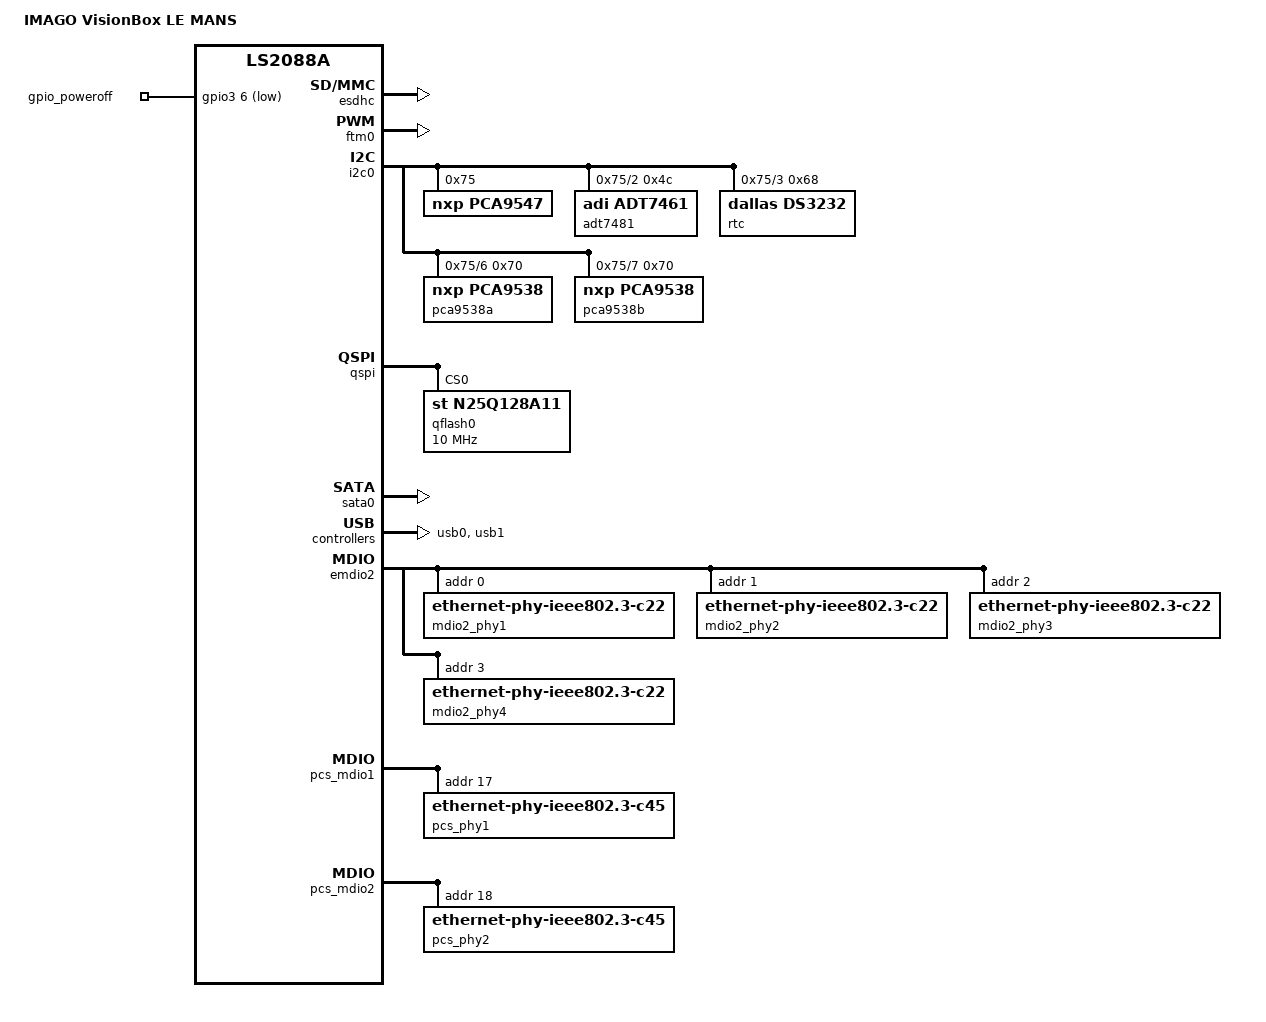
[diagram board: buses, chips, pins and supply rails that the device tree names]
/*
 * Device Tree file for IMAGO VisionBox LeMans
 *
 * Copyright (C) 2016, IMAGO Technologies GmbH
 *
 * Ralf Goebel <ralf.goebel@imago-technologies.com>
 *
 * This file is licensed under the terms of the GNU General Public
 * License version 2.  This program is licensed "as is" without any
 * warranty of any kind, whether express or implied.
 */

/dts-v1/;

#include "fsl-ls2088a.dtsi"
#include <dt-bindings/gpio/gpio.h>

/ {
	model = "IMAGO VisionBox LE MANS";
	compatible = "fsl,ls2088a-rdb", "fsl,ls2088a";

  	/*aliases {
		serial0 = &serial0;
	};*/
	chosen {
		stdout-path = "serial0:115200n8";
	};

	/* we use GPIO4_06 / IRQ08 for signaling power-off to the FPGA */
	gpio_poweroff {
		compatible = "gpio-poweroff";
		gpios = <&gpio3 6 GPIO_ACTIVE_LOW>;
	};

/*	cpus {
		L2_0: l2-cache0 {
			compatible = "cache";
		};
	
		L2_1: l2-cache1 {
			compatible = "cache";
		};
	
		L2_2: l2-cache2 {
			compatible = "cache";
		};
	
		L2_3: l2-cache3 {
			compatible = "cache";
		};
	};*/
};

/*&cpu0 {
	next-level-cache = <&L2_0>;
};

&cpu1 {
	next-level-cache = <&L2_0>;
};

&cpu2 {
	next-level-cache = <&L2_1>;
};

&cpu3 {
	next-level-cache = <&L2_1>;
};

&cpu4 {
	next-level-cache = <&L2_2>;
};

&cpu5 {
	next-level-cache = <&L2_2>;
};

&cpu6 {
	next-level-cache = <&L2_3>;
};

&cpu7 {
	next-level-cache = <&L2_3>;
};*/

&serial1 {
	status = "disabled";
};

/* Disable unused PCIe controller */
&pcie1 {
	status = "disabled";
};

&esdhc {
	status = "okay";
	sd-uhs-ddr50;
};

&ifc {
	status = "disabled";
};

&ftm0 {
	status = "okay";
};

&i2c0 {
	status = "okay";
	pca9547@75 {
		compatible = "nxp,pca9547";
		reg = <0x75>;
		#address-cells = <1>;
		#size-cells = <0>;
		i2c-mux-never-disable;

		i2c@2 {
			#address-cells = <1>;
			#size-cells = <0>;
			reg = <0x2>;

			adt7481@4c {
				compatible = "adi,adt7461";
				reg = <0x4c>;
			};
		};

		i2c@3 {
			#address-cells = <1>;
			#size-cells = <0>;
			reg = <0x03>;
			rtc@68 {
				compatible = "dallas,ds3232";
				reg = <0x68>;
			};
		};

		i2c@6 {
			#address-cells = <1>;
			#size-cells = <0>;
			reg = <0x6>;

			pca9538a@70 {
				compatible = "nxp,pca9538";
				reg = <0x70>;
				pinctrl-names = "default";
//				pinctrl-0 = <&pinctrl_pca9505>;
//				interrupts = <0 2 0x4>; /* Level high type */
			};
		};

		i2c@7 {
			#address-cells = <1>;
			#size-cells = <0>;
			reg = <0x7>;

			pca9538b@70 {
				compatible = "nxp,pca9538";
				reg = <0x70>;
				pinctrl-names = "default";
//				pinctrl-0 = <&pinctrl_pca9505>;
//				interrupts = <0 2 0x4>; /* Level high type */
			};
		};
	};
};

&i2c1 {
	status = "disabled";
};

&i2c2 {
	status = "disabled";
};

&i2c3 {
	status = "disabled";
};

&dspi {
	status = "disabled";
};

&qspi {
	status = "okay";
	qflash0: n25q128 {
		#address-cells = <1>;
		#size-cells = <1>;
		compatible = "st,n25q128a11";
		spi-max-frequency = <10000000>;
		m25p,fast-read;
		reg = <0>;
	};
};

&sata0 {
	status = "okay";
};

&sata1 {
	status = "disabled";
};

&usb0 {
	status = "okay";
};

&usb1 {
	status = "okay";
};

&emdio1 {
	status = "disabled";
};

&emdio2 {
	/* Marvell 88E1548 QSGMII Phy */
	mdio2_phy1: emdio2_phy@1 {
		compatible = "ethernet-phy-ieee802.3-c22";
		interrupts = <0 1 0x4>; /* Level high type */
		reg = <0x0>;
		phy-connection-type = "qsgmii";
		marvell,reg-init = <3 0x10 0 0x4877>,	/* LED Function Control Register */
			<3 0x12 0 0x0B05>;					/* LED Timer Control Register */
	};
	mdio2_phy2: emdio2_phy@2 {
		compatible = "ethernet-phy-ieee802.3-c22";
		interrupts = <0 1 0x4>; /* Level high type */
		reg = <0x1>;
		phy-connection-type = "qsgmii";
		marvell,reg-init = <3 0x10 0 0x4877>,
			<3 0x12 0 0x0B05>;
	};
	mdio2_phy3: emdio2_phy@3 {
		compatible = "ethernet-phy-ieee802.3-c22";
		interrupts = <0 1 0x4>; /* Level high type */
		reg = <0x2>;
		phy-connection-type = "qsgmii";
		marvell,reg-init = <3 0x10 0 0x4877>,
			<3 0x12 0 0x0B05>;
	};
	mdio2_phy4: emdio2_phy@4 {
		compatible = "ethernet-phy-ieee802.3-c22";
		interrupts = <0 1 0x4>; /* Level high type */
		reg = <0x3>;
		phy-connection-type = "qsgmii";
		marvell,reg-init = <3 0x10 0 0x4877>,
			<3 0x12 0 0x0B05>;
	};
};

&pcs_mdio1 {
                pcs_phy1: ethernet-phy@0 {
                backplane-mode = "10gbase-kr";
                compatible = "ethernet-phy-ieee802.3-c45";
		reg = <0x11>;		/* MDIO address is configured with the SerDes Register XFIHCR1 by U-Boot */
                fsl,lane-handle = <&serdes1>;
                fsl,lane-reg = <0x9C0 0x40>;/* lane H */
        };
};

&pcs_mdio2 {
                pcs_phy2: ethernet-phy@0 {
                backplane-mode = "10gbase-kr";
                compatible = "ethernet-phy-ieee802.3-c45";
		reg = <0x12>;		/* MDIO address is configured with the SerDes Register XFIHCR1 by U-Boot */
                fsl,lane-handle = <&serdes1>;
                fsl,lane-reg = <0x980 0x40>;/* lane G */
        };
};

&dpmac1 {
	phy-handle = <&pcs_phy1>;
};
&dpmac2 {
	phy-handle = <&pcs_phy2>;
};

&dpmac13 {
	phy-handle = <&mdio2_phy1>;
};
&dpmac14 {
	phy-handle = <&mdio2_phy2>;
};
&dpmac15 {
	phy-handle = <&mdio2_phy3>;
};
&dpmac16 {
	phy-handle = <&mdio2_phy4>;
};
